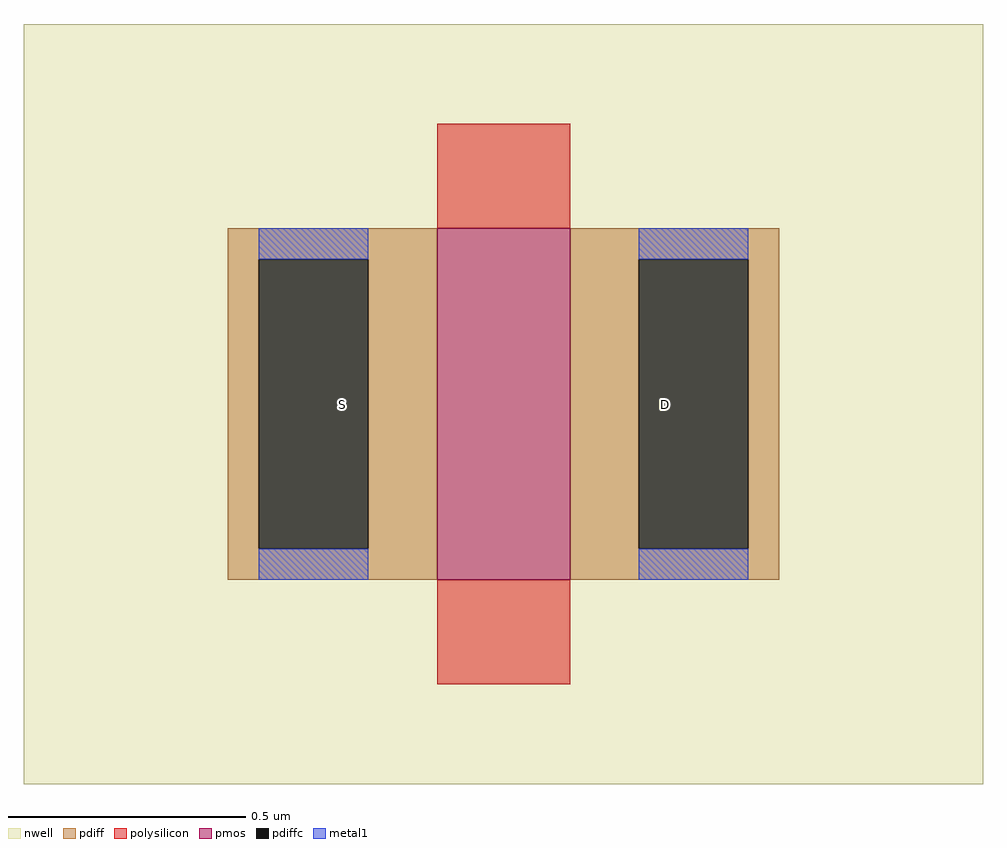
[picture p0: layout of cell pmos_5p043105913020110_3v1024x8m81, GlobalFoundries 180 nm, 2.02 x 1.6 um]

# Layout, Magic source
magic
tech gf180mcuD
magscale 1 10
<< nwell >>
rect -174 -86 230 234
<< pmos >>
rect 0 0 56 148
<< pdiff >>
rect -88 135 0 148
rect -88 13 -75 135
rect -29 13 0 135
rect -88 0 0 13
rect 56 135 144 148
rect 56 13 85 135
rect 131 13 144 135
rect 56 0 144 13
<< pdiffc >>
rect -75 13 -29 135
rect 85 13 131 135
<< polysilicon >>
rect 0 148 56 192
rect 0 -44 56 0
<< metal1 >>
rect -75 135 -29 148
rect -75 0 -29 13
rect 85 135 131 148
rect 85 0 131 13
<< labels >>
flabel pdiffc -40 74 -40 74 0 FreeSans 186 0 0 0 S
flabel pdiffc 96 74 96 74 0 FreeSans 186 0 0 0 D
<< end >>
